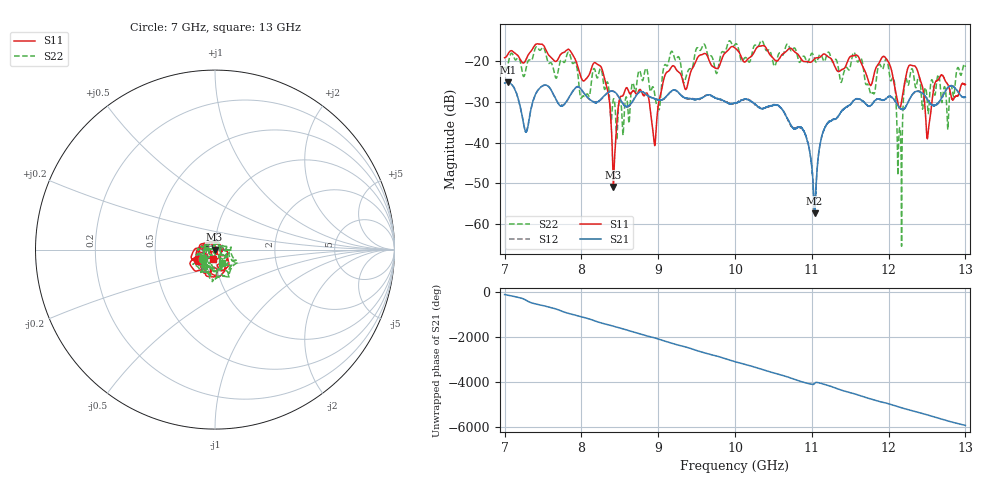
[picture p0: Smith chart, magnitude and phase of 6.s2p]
[Version] 2.0
! Rohde & Schwarz Vector Network Analyzer
! Rohde-Schwarz,ZNL20-2Port,1323001220200009,1.71.1.10-23.02.1.238
! Port Assignments:
! Nominal Port -> Actual Test Port
!  1 -> 1
!  2 -> 2
! Created: GMT+3 2024-09-24 15:09:59
# Hz S DB R 50
[Number of Ports] 2
[Two-Port Data Order] 21_12
! freq[Hz]  S11[mag dB]  S11[ang]  S21[mag dB]  S21[ang]  S12[mag dB]  S12[ang]  S22[mag dB]  S22[ang]
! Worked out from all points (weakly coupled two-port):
!   6001 points, 7 GHz to 13 GHz, reference 50 ohm
!   highest |S21| = -25.18 dB at 7.045 GHz (marker M1); lowest = -57.3 dB at 11.04 GHz (marker M2)
!   lowest |S11| = -50.9 dB at 8.417 GHz (marker M3), VSWR 1.01, Z = 49.7 - j0.0932 ohm
!   |S11| at or under -10 dB: start of sweep to end of sweep
!   |S22| runs from -65.4 to -14.9 dB; largest |S21 - S12| = 0.0012
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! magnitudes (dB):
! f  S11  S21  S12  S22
! 7 GHz  -19.2  -25.4  -25.3  -21.4
! 7.045 GHz  -18.2  -25.2  -25.3  -20.7
! 7.278 GHz  -19.7  -37.4  -37.1  -21.9
! 7.835 GHz  -17.1  -29.0  -29.1  -17.8
! 8 GHz  -24.2  -27.0  -26.9  -29.1
! 8.266 GHz  -21.8  -29.1  -29.2  -22.5
! 8.417 GHz  -50.9  -27.4  -27.3  -29.3
! 8.577 GHz  -26.8  -31.1  -31.0  -29.0
! 8.841 GHz  -27.9  -28.2  -28.1  -21.7
! 9 GHz  -30.9  -29.5  -29.4  -31.5
! 9.172 GHz  -21.5  -27.4  -27.3  -17.6
! 10 GHz  -16.8  -30.3  -30.4  -15.9
! 10.59 GHz  -19.0  -31.3  -31.4  -18.0
! 11 GHz  -20.1  -45.9  -46.2  -18.1
! 11.04 GHz  -19.4  -57.3  -56.1  -19.5
! 11.2 GHz  -18.8  -35.3  -35.3  -18.1
! 12 GHz  -20.3  -28.7  -28.6  -21.8
! 12.14 GHz  -31.6  -31.4  -31.4  -36.3
! 12.3 GHz  -21.0  -28.5  -28.5  -22.0
! 12.51 GHz  -38.1  -29.6  -29.6  -32.3
! 12.63 GHz  -24.8  -30.5  -30.7  -24.0
! 13 GHz  -25.7  -28.8  -28.7  -21.4
